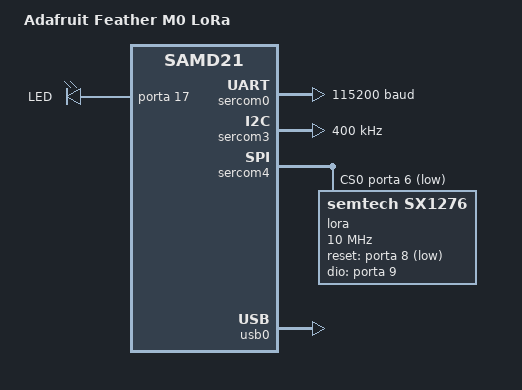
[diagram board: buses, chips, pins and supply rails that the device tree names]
/*
 * Copyright (c) 2018 Henrik Brix Andersen <henrik@brixandersen.dk>
 *
 * SPDX-License-Identifier: Apache-2.0
 */

/dts-v1/;
#include <atmel/samd21.dtsi>
#include <atmel/samx2xx18.dtsi>
#include "adafruit_feather_m0_lora-pinctrl.dtsi"
#include "feather_connector.dtsi"

/ {
	compatible = "adafruit,feather-m0-lora", "atmel,samd21g18a",
		     "atmel,samd21";
	model = "Adafruit Feather M0 LoRa";

	chosen {
		zephyr,console = &sercom0;
		zephyr,shell-uart = &sercom0;
		zephyr,sram = &sram0;
		zephyr,flash = &flash0;
		zephyr,code-partition = &code_partition;
	};

	/* These aliases are provided for compatibility with samples */
	aliases {
		led0 = &led0;
		lora0 = &lora;
	};

	leds {
		compatible = "gpio-leds";

		led0: led_0 {
			gpios = <&porta 17 0>;
			label = "LED";
		};
	};
};

&cpu0 {
	clock-frequency = <48000000>;
};

&sercom0 {
	compatible = "atmel,sam0-uart";
	current-speed = <115200>;
	rxpo = <3>;
	txpo = <1>;

	pinctrl-0 = <&sercom0_uart_default>;
	pinctrl-names = "default";
	status = "okay";
};

&sercom3 {
	compatible = "atmel,sam0-i2c";
	clock-frequency = <I2C_BITRATE_FAST>;
	#address-cells = <1>;
	#size-cells = <0>;

	pinctrl-0 = <&sercom3_i2c_default>;
	pinctrl-names = "default";
	status = "okay";
};

&sercom4 {
	compatible = "atmel,sam0-spi";
	#address-cells = <1>;
	#size-cells = <0>;
	dipo = <0>;
	dopo = <1>;

	pinctrl-0 = <&sercom4_spi_default>;
	pinctrl-names = "default";

	cs-gpios = <&porta 6 GPIO_ACTIVE_LOW>;
	status = "okay";

	lora: radio@0 {
		compatible = "semtech,sx1276";
		reg = <0>;
		reset-gpios = <&porta 8 GPIO_ACTIVE_LOW>;
		dio-gpios = <&porta 9 (GPIO_PULL_DOWN | GPIO_ACTIVE_HIGH)>;
		spi-max-frequency = <10000000>;
		power-amplifier-output = "pa-boost";
	};
};

&flash0 {
	partitions {
		compatible = "fixed-partitions";
		#address-cells = <1>;
		#size-cells = <1>;

		boot_partition: partition@0 {
			reg = <0x00000000 DT_SIZE_K(8)>;
			label = "sam-ba";
			read-only;
		};

		code_partition: partition@2000 {
			reg = <0x2000 DT_SIZE_K(232)>;
			label = "code";
			read-only;
		};

		/*
		 * The final 16 KiB is reserved for the application.
		 * Storage partition will be used by FCB/LittleFS/NVS
		 * if enabled.
		 */
		storage_partition: partition@3c000 {
			reg = <0x0003c000 DT_SIZE_K(16)>;
			label = "storage";
		};
	};
};

&usb0 {
	pinctrl-0 = <&usb_dc_default>;
	pinctrl-names = "default";
	status = "okay";
};
